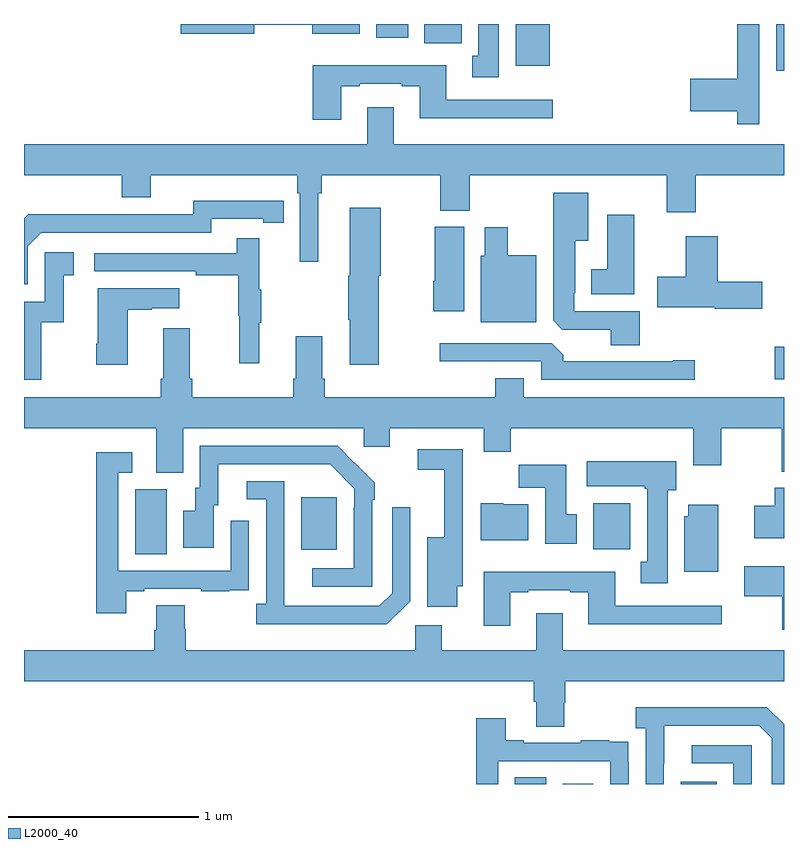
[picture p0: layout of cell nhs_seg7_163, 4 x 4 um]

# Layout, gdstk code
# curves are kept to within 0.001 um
import gdstk
lib = gdstk.Library(unit=1e-6, precision=1e-09)
def R(c, l, rs):  # rectangles x0, y0, x1, y1
    for r in rs: c.add(gdstk.rectangle(r[:2], r[2:], *l))
def P(c, l, *ps):  # polygons
    for p in ps: c.add(gdstk.Polygon(p, *l))
L2000_40 = (2000, 40)

nhs_seg7_163 = lib.new_cell('nhs_seg7_163')
R(nhs_seg7_163, L2000_40, [(123.584,1076,123.748,1076.036), (123.836,1076,123.997,1076.002), (124.457,1076,124.645,1076.011), (121.586,1077.208,121.75,1077.552), (122.459,1077.233,122.647,1077.508), (123.995,1077.236,124.192,1077.478), (124.95,1078.13,125,1078.301), (124.958,1079.755,125,1080), (123.587,1079.78,123.766,1080), (123.107,1079.9,123.304,1080), (122.855,1079.928,123.022,1080)])
P(nhs_seg7_163, L2000_40, [(122.212,1079.995),(122.516,1079.995),(122.516,1079.948),(122.767,1079.948),(122.767,1080),(121.824,1080),(121.824,1079.948),(122.212,1079.948)],
  [(123.499,1080),(123.392,1080),(123.392,1079.834),(123.359,1079.834),(123.359,1079.721),(123.499,1079.721)],
  [(124.87,1079.694),(124.869,1079.694),(124.869,1080),(124.753,1080),(124.753,1079.711),(124.506,1079.711),(124.506,1079.54),(124.753,1079.54),(124.753,1079.472),(124.87,1079.472)],
  [(122.671,1079.673),(122.767,1079.673),(122.767,1079.685),(122.987,1079.685),(122.987,1079.673),(123.083,1079.673),(123.083,1079.504),(123.784,1079.504),(123.784,1079.601),(123.223,1079.601),(123.223,1079.782),(122.519,1079.782),(122.519,1079.496),(122.671,1079.496)],
  [(122.548,1079.108),(122.567,1079.108),(122.567,1079.204),(123.19,1079.204),(123.19,1079.017),(123.345,1079.017),(123.345,1079.204),(124.382,1079.204),(124.382,1079.01),(124.535,1079.01),(124.535,1079.204),(125,1079.204),(125,1079.368),(122.947,1079.368),(122.947,1079.563),(122.807,1079.563),(122.807,1079.368),(121,1079.368),(121,1079.204),(121.514,1079.204),(121.514,1079.087),(121.666,1079.087),(121.666,1079.204),(122.438,1079.204),(122.438,1079.108),(122.451,1079.108),(122.451,1078.749),(122.548,1078.749)],
  [(124.241,1078.488),(123.897,1078.488),(123.897,1078.585),(123.901,1078.585),(123.901,1078.859),(123.97,1078.859),(123.97,1079.113),(123.785,1079.113),(123.785,1078.441),(123.834,1078.392),(124.088,1078.392),(124.088,1078.309),(124.241,1078.309)],
  [(121.02,1078.83),(121.092,1078.902),(121.986,1078.902),(121.986,1078.974),(122.258,1078.974),(122.258,1078.954),(122.366,1078.954),(122.366,1079.07),(121.89,1079.071),(121.89,1078.998),(121.43,1078.998),(121.43,1079),(121.022,1079),(121,1078.978),(121,1078.629),(121.02,1078.629)],
  [(122.868,1078.674),(122.878,1078.674),(122.878,1079.032),(122.714,1079.032),(122.714,1078.674),(122.707,1078.674),(122.707,1078.444),(122.714,1078.444),(122.714,1078.206),(122.868,1078.206)],
  [(124.213,1078.996),(124.07,1078.996),(124.07,1078.708),(123.986,1078.708),(123.986,1078.577),(124.213,1078.577)],
  [(123.316,1078.932),(123.161,1078.932),(123.161,1078.645),(123.154,1078.645),(123.154,1078.488),(123.316,1078.488)],
  [(123.697,1078.783),(123.547,1078.783),(123.547,1078.93),(123.425,1078.93),(123.425,1078.779),(123.404,1078.779),(123.404,1078.43),(123.697,1078.43)],
  [(124.885,1078.643),(124.652,1078.643),(124.652,1078.882),(124.484,1078.882),(124.484,1078.671),(124.332,1078.671),(124.332,1078.508),(124.635,1078.508),(124.635,1078.501),(124.885,1078.501)],
  [(122.237,1078.427),(122.248,1078.427),(122.248,1078.601),(122.237,1078.601),(122.237,1078.873),(122.119,1078.873),(122.119,1078.794),(121.371,1078.794),(121.371,1078.698),(121.903,1078.698),(121.903,1078.678),(122.127,1078.678),(122.127,1078.464),(122.134,1078.464),(122.134,1078.215),(122.237,1078.215)],
  [(121.09,1078.431),(121.208,1078.431),(121.208,1078.677),(121.261,1078.677),(121.261,1078.798),(121.11,1078.798),(121.11,1078.539),(121,1078.539),(121,1078.128),(121.09,1078.128)],
  [(121.546,1078.495),(121.673,1078.495),(121.673,1078.505),(121.816,1078.505),(121.816,1078.609),(121.388,1078.609),(121.388,1078.318),(121.381,1078.318),(121.381,1078.206),(121.546,1078.206)],
  [(121.837,1077.872),(122.787,1077.872),(122.787,1077.774),(122.926,1077.774),(122.926,1077.872),(123.419,1077.872),(123.419,1077.748),(123.563,1077.748),(123.563,1077.872),(124.523,1077.872),(124.523,1077.678),(124.671,1077.678),(124.671,1077.872),(124.989,1077.872),(124.989,1077.644),(125,1077.644),(125,1078.036),(123.631,1078.036),(123.631,1078.135),(123.479,1078.135),(123.479,1078.036),(122.582,1078.036),(122.582,1078.132),(122.569,1078.132),(122.569,1078.357),(122.429,1078.357),(122.429,1078.132),(122.417,1078.132),(122.417,1078.036),(121.886,1078.036),(121.886,1078.132),(121.873,1078.132),(121.873,1078.399),(121.733,1078.399),(121.733,1078.132),(121.721,1078.132),(121.721,1078.036),(121,1078.036),(121,1077.872),(121.697,1077.872),(121.697,1077.637),(121.837,1077.637)],
  [(124.531,1078.229),(124.418,1078.229),(124.418,1078.224),(123.839,1078.224),(123.839,1078.258),(123.777,1078.32),(123.189,1078.32),(123.189,1078.224),(123.723,1078.224),(123.723,1078.128),(124.531,1078.128)],
  [(122.832,1077.497),(122.847,1077.497),(122.847,1077.585),(122.65,1077.78),(121.926,1077.78),(121.926,1077.558),(121.901,1077.558),(121.901,1077.439),(121.838,1077.439),(121.838,1077.243),(121.999,1077.243),(121.999,1077.468),(122.023,1077.468),(122.023,1077.684),(122.611,1077.684),(122.739,1077.555),(122.739,1077.455),(122.736,1077.455),(122.736,1077.135),(122.517,1077.135),(122.517,1077.039),(122.832,1077.039)],
  [(123.28,1077.041),(123.309,1077.041),(123.309,1077.762),(123.072,1077.762),(123.072,1077.654),(123.212,1077.654),(123.212,1077.298),(123.122,1077.298),(123.122,1076.934),(123.28,1076.934)],
  [(121.537,1077.015),(121.633,1077.015),(121.633,1077.027),(121.933,1077.027),(121.933,1077.015),(122.081,1077.015),(122.081,1077.021),(122.183,1077.021),(122.183,1077.13),(122.184,1077.13),(122.184,1077.385),(122.088,1077.385),(122.088,1077.123),(121.497,1077.123),(121.497,1077.639),(121.57,1077.639),(121.57,1077.745),(121.381,1077.745),(121.381,1076.898),(121.537,1076.898)],
  [(124.387,1077.546),(124.432,1077.546),(124.432,1077.7),(123.963,1077.7),(123.963,1077.566),(124.267,1077.566),(124.267,1077.553),(124.28,1077.553),(124.28,1077.17),(124.247,1077.17),(124.247,1077.057),(124.387,1077.057)],
  [(123.91,1077.42),(123.853,1077.42),(123.853,1077.679),(123.604,1077.679),(123.604,1077.56),(123.743,1077.56),(123.743,1077.264),(123.91,1077.264)],
  [(123.033,1076.963),(123.033,1077.457),(122.937,1077.457),(122.937,1077.003),(122.871,1076.937),(122.371,1076.937),(122.37,1077.594),(122.172,1077.594),(122.172,1077.498),(122.274,1077.498),(122.274,1076.95),(122.223,1076.95),(122.223,1076.84),(122.91,1076.84)],
  [(125,1077.559),(124.952,1077.559),(124.952,1077.465),(124.844,1077.465),(124.844,1077.293),(125,1077.293)],
  [(123.655,1077.472),(123.522,1077.472),(123.522,1077.478),(123.404,1077.478),(123.404,1077.284),(123.655,1077.284)],
  [(124.654,1077.469),(124.496,1077.469),(124.496,1077.408),(124.475,1077.408),(124.475,1077.116),(124.654,1077.116)],
  [(125,1077.145),(124.791,1077.145),(124.791,1076.987),(124.992,1076.987),(124.992,1076.811),(125,1076.811)],
  [(123.559,1077.009),(123.655,1077.009),(123.655,1077.021),(123.875,1077.021),(123.875,1077.009),(123.971,1077.009),(123.971,1076.84),(124.672,1076.84),(124.672,1076.937),(124.111,1076.937),(124.111,1077.118),(123.419,1077.118),(123.419,1076.832),(123.559,1076.832)],
  [(123.843,1076.427),(123.848,1076.427),(123.848,1076.54),(125,1076.54),(125,1076.704),(123.835,1076.704),(123.835,1076.899),(123.695,1076.899),(123.695,1076.704),(123.199,1076.704),(123.199,1076.836),(123.06,1076.836),(123.06,1076.704),(121.85,1076.704),(121.85,1076.817),(121.845,1076.817),(121.845,1076.942),(121.697,1076.942),(121.697,1076.81),(121.685,1076.81),(121.685,1076.704),(121,1076.704),(121,1076.54),(123.683,1076.54),(123.683,1076.434),(123.695,1076.434),(123.695,1076.302),(123.843,1076.302)],
  [(124.368,1076.107),(124.369,1076.307),(124.869,1076.307),(124.935,1076.241),(124.935,1076),(125,1076),(125,1076.314),(124.91,1076.404),(124.221,1076.404),(124.221,1076.294),(124.272,1076.294),(124.272,1076),(124.368,1076)],
  [(123.495,1076.121),(124.086,1076.121),(124.086,1076),(124.182,1076),(124.182,1076.114),(124.181,1076.114),(124.181,1076.223),(124.079,1076.223),(124.079,1076.23),(123.931,1076.23),(123.931,1076.217),(123.631,1076.217),(123.631,1076.23),(123.535,1076.23),(123.535,1076.347),(123.379,1076.347),(123.379,1076),(123.495,1076)],
  [(124.83,1076.205),(124.515,1076.205),(124.515,1076.109),(124.734,1076.109),(124.734,1076),(124.83,1076)])

lib.write_gds('nhs_seg7_163.gds')
